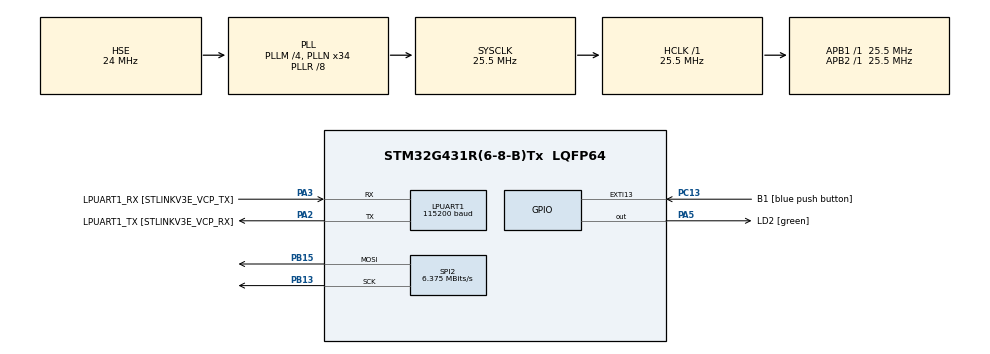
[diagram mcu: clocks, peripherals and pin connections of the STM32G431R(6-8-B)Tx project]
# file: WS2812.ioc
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Dma.Request0=SPI2_TX
Dma.SPI2_TX.0.Direction=DMA_MEMORY_TO_PERIPH
Dma.SPI2_TX.0.EventEnable=DISABLE
Dma.SPI2_TX.0.Instance=DMA1_Channel2
Dma.SPI2_TX.0.MemDataAlignment=DMA_MDATAALIGN_BYTE
Dma.SPI2_TX.0.MemInc=DMA_MINC_ENABLE
Dma.SPI2_TX.0.Mode=DMA_CIRCULAR
Dma.SPI2_TX.0.PeriphDataAlignment=DMA_PDATAALIGN_BYTE
Dma.SPI2_TX.0.PeriphInc=DMA_PINC_DISABLE
Dma.SPI2_TX.0.Polarity=HAL_DMAMUX_REQ_GEN_RISING
Dma.SPI2_TX.0.Priority=DMA_PRIORITY_LOW
Dma.SPI2_TX.0.RequestNumber=1
Dma.SPI2_TX.0.SignalID=NONE
Dma.SPI2_TX.0.SyncEnable=DISABLE
Dma.SPI2_TX.0.SyncPolarity=HAL_DMAMUX_SYNC_NO_EVENT
Dma.SPI2_TX.0.SyncRequestNumber=1
Dma.SPI2_TX.0.SyncSignalID=NONE
LPUART1.BaudRate=115200
Mcu.Family=STM32G4
Mcu.Name=STM32G431R(6-8-B)Tx
Mcu.Package=LQFP64
NVIC.DMA1_Channel2_IRQn=true\:0\:0\:false\:false\:true\:false\:true
NVIC.EXTI15_10_IRQn=true\:0\:0\:false\:false\:true\:true\:true
NVIC.PriorityGroup=NVIC_PRIORITYGROUP_4
PA13.GPIO_Label=T_SWDIO
PA13.Mode=Serial_Wire
PA13.Signal=SYS_JTMS-SWDIO
PA14.GPIO_Label=T_SWCLK
PA14.Mode=Serial_Wire
PA14.Signal=SYS_JTCK-SWCLK
PA2.GPIO_Label=LPUART1_TX [STLINKV3E_VCP_RX]
PA2.Mode=Asynchronous
PA2.Signal=LPUART1_TX
PA3.GPIO_Label=LPUART1_RX [STLINKV3E_VCP_TX]
PA3.Mode=Asynchronous
PA3.Signal=LPUART1_RX
PA5.GPIO_Label=LD2 [green]
PA5.Signal=GPIO_Output
PB13.Mode=TX_Only_Simplex_Unidirect_Master
PB13.Signal=SPI2_SCK
PB15.Mode=TX_Only_Simplex_Unidirect_Master
PB15.Signal=SPI2_MOSI
PB3.GPIO_Label=T_SWO
PB3.Signal=SYS_JTDO-SWO
PB8-BOOT0.Signal=I2C1_SCL
PB9.Signal=I2C1_SDA
PC13.GPIO_Label=B1 [blue push button]
PC13.Signal=GPXTI13
PC14-OSC32_IN.Mode=LSE-External-Oscillator
PC14-OSC32_IN.Signal=RCC_OSC32_IN
PC15-OSC32_OUT.Mode=LSE-External-Oscillator
PC15-OSC32_OUT.Signal=RCC_OSC32_OUT
PF0-OSC_IN.Mode=HSE-External-Oscillator
PF0-OSC_IN.Signal=RCC_OSC_IN
PF1-OSC_OUT.Mode=HSE-External-Oscillator
PF1-OSC_OUT.Signal=RCC_OSC_OUT
ProjectManager.HeapSize=0x200
ProjectManager.StackSize=0x400
ProjectManager.TargetToolchain=Makefile
RCC.ADC12Freq_Value=25500000
RCC.AHBFreq_Value=25500000
RCC.APB1Freq_Value=25500000
RCC.APB1TimFreq_Value=25500000
RCC.APB2Freq_Value=25500000
RCC.APB2TimFreq_Value=25500000
RCC.CortexFreq_Value=25500000
RCC.EXTERNAL_CLOCK_VALUE=12288000
RCC.HCLKFreq_Value=25500000
RCC.HSE_VALUE=24000000
RCC.HSI48_VALUE=48000000
RCC.HSI_VALUE=16000000
RCC.PLLM=RCC_PLLM_DIV4
RCC.PLLN=34
RCC.PLLR=RCC_PLLR_DIV8
RCC.PLLSourceVirtual=RCC_PLLSOURCE_HSE
RCC.RTCClockSelection=RCC_RTCCLKSOURCE_LSE
RCC.SYSCLKFreq_VALUE=25500000
RCC.SYSCLKSource=RCC_SYSCLKSOURCE_PLLCLK
RCC.USBFreq_Value=102000000
RCC.VCOOutputFreq_Value=204000000
SPI2.BaudRatePrescaler=SPI_BAUDRATEPRESCALER_4
SPI2.CalculateBaudRate=6.375 MBits/s
SPI2.DataSize=SPI_DATASIZE_8BIT
SPI2.Direction=SPI_DIRECTION_2LINES
SPI2.Mode=SPI_MODE_MASTER
SPI2.NSS-TX_Only_Simplex_Unidirect_Master=SPI_NSS_SOFT
SPI2.NSSPMode=SPI_NSS_PULSE_DISABLE
SPI2.VirtualType=VM_MASTER
VP_SYS_VS_DBSignals.Mode=DisableDeadBatterySignals
board=NUCLEO-G431RB

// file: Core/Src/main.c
/* USER CODE BEGIN Header */
/**
  ******************************************************************************
  * @file           : main.c
  * @brief          : Main program body
  ******************************************************************************
  * @attention
  *
  * <h2><center>&copy; Copyright (c) 2021 STMicroelectronics.
  * All rights reserved.</center></h2>
  *
  * This software component is licensed by ST under BSD 3-Clause license,
  * the "License"; You may not use this file except in compliance with the
  * License. You may obtain a copy of the License at:
  *                        opensource.org/licenses/BSD-3-Clause
  *
  ******************************************************************************
  */
/* USER CODE END Header */
#include "main.h"

/* USER CODE BEGIN Includes */
#include "ws2812b.h"

/* USER CODE END Includes */

UART_HandleTypeDef hlpuart1;

SPI_HandleTypeDef hspi2;
DMA_HandleTypeDef hdma_spi2_tx;

/* USER CODE BEGIN PV */
uint8_t lights[16] = {5,10,15,20,25,35,45,55,65,75,85,95,105,115,125,130};
uint8_t brightness[WS2812B_LEDS] = {100,30,10,5,2,1,1,0};
uint8_t color = 0;
/* USER CODE END PV */

void SystemClock_Config(void);
static void MX_GPIO_Init(void);
static void MX_DMA_Init(void);
static void MX_LPUART1_UART_Init(void);
static void MX_SPI2_Init(void);
/* USER CODE BEGIN PFP */
void HAL_GPIO_EXTI_Callback(uint16_t GPIO_Pin);
/* USER CODE END PFP */

int main(void)
{
  /* USER CODE BEGIN 1 */
  uint8_t tmp = 0;
  /* USER CODE END 1 */

  /* MCU Configuration--------------------------------------------------------*/

  /* Reset of all peripherals, Initializes the Flash interface and the Systick. */
  HAL_Init();

  /* Configure the system clock */
  SystemClock_Config();

  /* Initialize all configured peripherals */
  MX_GPIO_Init();
  MX_DMA_Init();
  MX_LPUART1_UART_Init();
  MX_SPI2_Init();
  /* USER CODE BEGIN 2 */

  WS2812B_Init(&hspi2);

  /* USER CODE END 2 */

  /* Infinite loop */
  while (1)
  {

    /* USER CODE BEGIN 3 */
    HAL_GPIO_TogglePin(LD2_GPIO_Port, LD2_Pin);

    for (uint8_t i = 0; i < WS2812B_LEDS; i++)
    {
      switch (color)
      {
      case 0:
        WS2812B_SetDiodeRGB(i,brightness[i],0,0);
        break;
      case 1:
        WS2812B_SetDiodeRGB(i,0,brightness[i],0);
        break;
        case 2:
        WS2812B_SetDiodeRGB(i,0,0,brightness[i]);
        break;
      default:
        break;
      }
    }
    WS2812B_Refresh();
    HAL_Delay(80);

    tmp = brightness[0];
    for (uint8_t i = 0; i < WS2812B_LEDS-1; i++)
    {
      brightness[i] = brightness[i + 1];
    }
    brightness[WS2812B_LEDS-1] = tmp;

/*
	for(int j = 0; j < 16; j++)
	{
		for(int i = 0; i < 16; i++)
		{
			int k = i + j;
			if(k >= 16)
			{
				k -= 16;
			}
			WS2812B_SetDiodeRGB(i,0,lights[16-k],0);
			WS2812B_Refresh();
		}
		HAL_Delay(100);
	}
	for(int j = 0; j < 16; j++)
	{
		for(int i = 0; i < 16; i++)
		{
			int k = i + j;
			if(k >= 16)
			{
				k -= 16;
			}
			WS2812B_SetDiodeRGB(i,lights[16-k],0,0);
			WS2812B_Refresh();
		}
		HAL_Delay(100);
	}
	for(int j = 0; j < 16; j++)
	{
		for(int i = 0; i < 16; i++)
		{
			int k = i + j;
			if(k >= 16)
			{
				k -= 16;
			}
			WS2812B_SetDiodeRGB(i,0,0,lights[16-k]);
			WS2812B_Refresh();
		}
		HAL_Delay(100);
	}
*/
  }
  /* USER CODE END 3 */
}

void SystemClock_Config(void)
{
  RCC_OscInitTypeDef RCC_OscInitStruct = {0};
  RCC_ClkInitTypeDef RCC_ClkInitStruct = {0};
  RCC_PeriphCLKInitTypeDef PeriphClkInit = {0};

  /** Configure the main internal regulator output voltage
  */
  HAL_PWREx_ControlVoltageScaling(PWR_REGULATOR_VOLTAGE_SCALE1);
  /** Initializes the RCC Oscillators according to the specified parameters
  * in the RCC_OscInitTypeDef structure.
  */
  RCC_OscInitStruct.OscillatorType = RCC_OSCILLATORTYPE_HSE;
  RCC_OscInitStruct.HSEState = RCC_HSE_ON;
  RCC_OscInitStruct.PLL.PLLState = RCC_PLL_ON;
  RCC_OscInitStruct.PLL.PLLSource = RCC_PLLSOURCE_HSE;
  RCC_OscInitStruct.PLL.PLLM = RCC_PLLM_DIV4;
  RCC_OscInitStruct.PLL.PLLN = 34;
  RCC_OscInitStruct.PLL.PLLP = RCC_PLLP_DIV2;
  RCC_OscInitStruct.PLL.PLLQ = RCC_PLLQ_DIV2;
  RCC_OscInitStruct.PLL.PLLR = RCC_PLLR_DIV8;
  if (HAL_RCC_OscConfig(&RCC_OscInitStruct) != HAL_OK)
  {
    Error_Handler();
  }
  /** Initializes the CPU, AHB and APB buses clocks
  */
  RCC_ClkInitStruct.ClockType = RCC_CLOCKTYPE_HCLK|RCC_CLOCKTYPE_SYSCLK
                              |RCC_CLOCKTYPE_PCLK1|RCC_CLOCKTYPE_PCLK2;
  RCC_ClkInitStruct.SYSCLKSource = RCC_SYSCLKSOURCE_PLLCLK;
  RCC_ClkInitStruct.AHBCLKDivider = RCC_SYSCLK_DIV1;
  RCC_ClkInitStruct.APB1CLKDivider = RCC_HCLK_DIV1;
  RCC_ClkInitStruct.APB2CLKDivider = RCC_HCLK_DIV1;

  if (HAL_RCC_ClockConfig(&RCC_ClkInitStruct, FLASH_LATENCY_0) != HAL_OK)
  {
    Error_Handler();
  }
  /** Initializes the peripherals clocks
  */
  PeriphClkInit.PeriphClockSelection = RCC_PERIPHCLK_LPUART1;
  PeriphClkInit.Lpuart1ClockSelection = RCC_LPUART1CLKSOURCE_PCLK1;
  if (HAL_RCCEx_PeriphCLKConfig(&PeriphClkInit) != HAL_OK)
  {
    Error_Handler();
  }
}

static void MX_LPUART1_UART_Init(void)
{

  hlpuart1.Instance = LPUART1;
  hlpuart1.Init.BaudRate = 115200;
  hlpuart1.Init.WordLength = UART_WORDLENGTH_8B;
  hlpuart1.Init.StopBits = UART_STOPBITS_1;
  hlpuart1.Init.Parity = UART_PARITY_NONE;
  hlpuart1.Init.Mode = UART_MODE_TX_RX;
  hlpuart1.Init.HwFlowCtl = UART_HWCONTROL_NONE;
  hlpuart1.Init.OneBitSampling = UART_ONE_BIT_SAMPLE_DISABLE;
  hlpuart1.Init.ClockPrescaler = UART_PRESCALER_DIV1;
  hlpuart1.AdvancedInit.AdvFeatureInit = UART_ADVFEATURE_NO_INIT;
  if (HAL_UART_Init(&hlpuart1) != HAL_OK)
  {
    Error_Handler();
  }
  if (HAL_UARTEx_SetTxFifoThreshold(&hlpuart1, UART_TXFIFO_THRESHOLD_1_8) != HAL_OK)
  {
    Error_Handler();
  }
  if (HAL_UARTEx_SetRxFifoThreshold(&hlpuart1, UART_RXFIFO_THRESHOLD_1_8) != HAL_OK)
  {
    Error_Handler();
  }
  if (HAL_UARTEx_DisableFifoMode(&hlpuart1) != HAL_OK)
  {
    Error_Handler();
  }

}

static void MX_SPI2_Init(void)
{

  /* SPI2 parameter configuration*/
  hspi2.Instance = SPI2;
  hspi2.Init.Mode = SPI_MODE_MASTER;
  hspi2.Init.Direction = SPI_DIRECTION_2LINES;
  hspi2.Init.DataSize = SPI_DATASIZE_8BIT;
  hspi2.Init.CLKPolarity = SPI_POLARITY_LOW;
  hspi2.Init.CLKPhase = SPI_PHASE_1EDGE;
  hspi2.Init.NSS = SPI_NSS_SOFT;
  hspi2.Init.BaudRatePrescaler = SPI_BAUDRATEPRESCALER_4;
  hspi2.Init.FirstBit = SPI_FIRSTBIT_MSB;
  hspi2.Init.TIMode = SPI_TIMODE_DISABLE;
  hspi2.Init.CRCCalculation = SPI_CRCCALCULATION_DISABLE;
  hspi2.Init.CRCPolynomial = 7;
  hspi2.Init.CRCLength = SPI_CRC_LENGTH_DATASIZE;
  hspi2.Init.NSSPMode = SPI_NSS_PULSE_DISABLE;
  if (HAL_SPI_Init(&hspi2) != HAL_OK)
  {
    Error_Handler();
  }

}

static void MX_DMA_Init(void)
{

  /* DMA controller clock enable */
  __HAL_RCC_DMAMUX1_CLK_ENABLE();
  __HAL_RCC_DMA1_CLK_ENABLE();

  /* DMA interrupt init */
  /* DMA1_Channel2_IRQn interrupt configuration */
  HAL_NVIC_SetPriority(DMA1_Channel2_IRQn, 0, 0);
  HAL_NVIC_EnableIRQ(DMA1_Channel2_IRQn);

}

static void MX_GPIO_Init(void)
{
  GPIO_InitTypeDef GPIO_InitStruct = {0};

  /* GPIO Ports Clock Enable */
  __HAL_RCC_GPIOC_CLK_ENABLE();
  __HAL_RCC_GPIOF_CLK_ENABLE();
  __HAL_RCC_GPIOG_CLK_ENABLE();
  __HAL_RCC_GPIOA_CLK_ENABLE();
  __HAL_RCC_GPIOB_CLK_ENABLE();
  __HAL_RCC_GPIOD_CLK_ENABLE();

  /*Configure GPIO pin Output Level */
  HAL_GPIO_WritePin(LD2_GPIO_Port, LD2_Pin, GPIO_PIN_RESET);

  /*Configure GPIO pin : B1_Pin */
  GPIO_InitStruct.Pin = B1_Pin;
  GPIO_InitStruct.Mode = GPIO_MODE_IT_RISING;
  GPIO_InitStruct.Pull = GPIO_NOPULL;
  HAL_GPIO_Init(B1_GPIO_Port, &GPIO_InitStruct);

  /*Configure GPIO pin : PG10 */
  GPIO_InitStruct.Pin = GPIO_PIN_10;
  GPIO_InitStruct.Mode = GPIO_MODE_ANALOG;
  GPIO_InitStruct.Pull = GPIO_NOPULL;
  HAL_GPIO_Init(GPIOG, &GPIO_InitStruct);

  /*Configure GPIO pins : PC0 PC1 PC2 PC3
                           PC4 PC5 PC6 PC7
                           PC8 PC9 PC10 PC11
                           PC12 */
  GPIO_InitStruct.Pin = GPIO_PIN_0|GPIO_PIN_1|GPIO_PIN_2|GPIO_PIN_3
                          |GPIO_PIN_4|GPIO_PIN_5|GPIO_PIN_6|GPIO_PIN_7
                          |GPIO_PIN_8|GPIO_PIN_9|GPIO_PIN_10|GPIO_PIN_11
                          |GPIO_PIN_12;
  GPIO_InitStruct.Mode = GPIO_MODE_ANALOG;
  GPIO_InitStruct.Pull = GPIO_NOPULL;
  HAL_GPIO_Init(GPIOC, &GPIO_InitStruct);

  /*Configure GPIO pins : PA0 PA1 PA4 PA6
                           PA7 PA8 PA9 PA10
                           PA11 PA12 PA15 */
  GPIO_InitStruct.Pin = GPIO_PIN_0|GPIO_PIN_1|GPIO_PIN_4|GPIO_PIN_6
                          |GPIO_PIN_7|GPIO_PIN_8|GPIO_PIN_9|GPIO_PIN_10
                          |GPIO_PIN_11|GPIO_PIN_12|GPIO_PIN_15;
  GPIO_InitStruct.Mode = GPIO_MODE_ANALOG;
  GPIO_InitStruct.Pull = GPIO_NOPULL;
  HAL_GPIO_Init(GPIOA, &GPIO_InitStruct);

  /*Configure GPIO pin : LD2_Pin */
  GPIO_InitStruct.Pin = LD2_Pin;
  GPIO_InitStruct.Mode = GPIO_MODE_OUTPUT_PP;
  GPIO_InitStruct.Pull = GPIO_NOPULL;
  GPIO_InitStruct.Speed = GPIO_SPEED_FREQ_LOW;
  HAL_GPIO_Init(LD2_GPIO_Port, &GPIO_InitStruct);

  /*Configure GPIO pins : PB0 PB1 PB2 PB10
                           PB11 PB12 PB14 PB4
                           PB5 PB6 PB7 */
  GPIO_InitStruct.Pin = GPIO_PIN_0|GPIO_PIN_1|GPIO_PIN_2|GPIO_PIN_10
                          |GPIO_PIN_11|GPIO_PIN_12|GPIO_PIN_14|GPIO_PIN_4
                          |GPIO_PIN_5|GPIO_PIN_6|GPIO_PIN_7;
  GPIO_InitStruct.Mode = GPIO_MODE_ANALOG;
  GPIO_InitStruct.Pull = GPIO_NOPULL;
  HAL_GPIO_Init(GPIOB, &GPIO_InitStruct);

  /*Configure GPIO pin : PD2 */
  GPIO_InitStruct.Pin = GPIO_PIN_2;
  GPIO_InitStruct.Mode = GPIO_MODE_ANALOG;
  GPIO_InitStruct.Pull = GPIO_NOPULL;
  HAL_GPIO_Init(GPIOD, &GPIO_InitStruct);

  /*Configure GPIO pins : PB8 PB9 */
  GPIO_InitStruct.Pin = GPIO_PIN_8|GPIO_PIN_9;
  GPIO_InitStruct.Mode = GPIO_MODE_AF_OD;
  GPIO_InitStruct.Pull = GPIO_PULLUP;
  GPIO_InitStruct.Speed = GPIO_SPEED_FREQ_LOW;
  GPIO_InitStruct.Alternate = GPIO_AF4_I2C1;
  HAL_GPIO_Init(GPIOB, &GPIO_InitStruct);

  /* EXTI interrupt init*/
  HAL_NVIC_SetPriority(EXTI15_10_IRQn, 0, 0);
  HAL_NVIC_EnableIRQ(EXTI15_10_IRQn);

}

/* USER CODE BEGIN 4 */
void HAL_GPIO_EXTI_Callback(uint16_t GPIO_Pin)
{
  if (GPIO_Pin == B1_Pin)
  {
    switch (color)
    {
    case 0:
      color = 1;
      break;
    case 1:
      color = 2;
      break;
      case 2:
      color = 0;
      break;
    default:
      break;
    }
  }
}
/* USER CODE END 4 */

void Error_Handler(void)
{
  __disable_irq();
  while (1)
  {
  }
}

/************************ (C) COPYRIGHT STMicroelectronics *****END OF FILE****/
